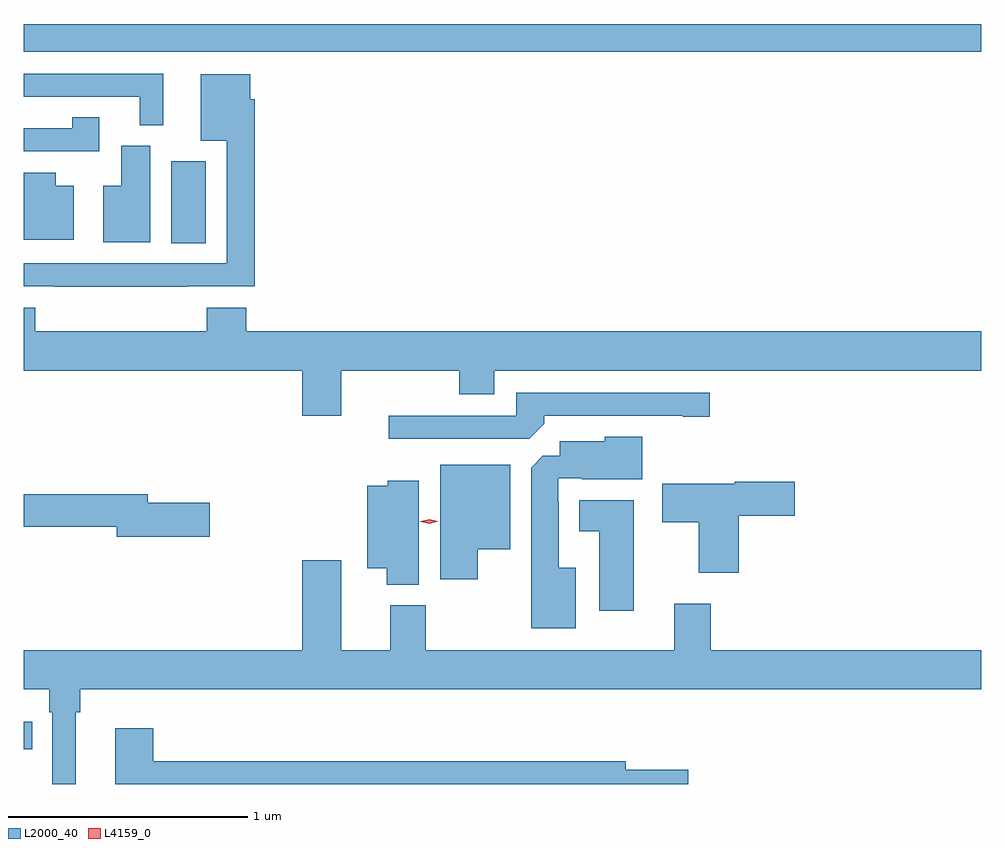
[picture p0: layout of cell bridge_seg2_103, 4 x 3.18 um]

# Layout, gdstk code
import gdstk
lib = gdstk.Library(unit=1e-6, precision=1e-09)
def R(c, l, rs):  # rectangles x0, y0, x1, y1
    for r in rs: c.add(gdstk.rectangle(r[:2], r[2:], *l))
def P(c, l, *ps):  # polygons
    for p in ps: c.add(gdstk.Polygon(p, *l))
L2000_40 = (2000, 40)
L4159_0 = (4159, 0)

bridge_seg2_103 = lib.new_cell('bridge_seg2_103')
R(bridge_seg2_103, L2000_40, [(547.461,663.37,547.496,663.486), (548.078,665.485,548.221,665.827), (547.461,666.284,551.461,666.4)])
P(bridge_seg2_103, L2000_40, [(548.044,666.192),(547.461,666.192),(547.461,666.096),(547.946,666.096),(547.946,665.977),(548.044,665.977)],
  [(548.141,665.304),(548.426,665.304),(548.426,666.086),(548.407,666.086),(548.407,666.19),(548.201,666.19),(548.201,665.912),(548.31,665.912),(548.31,665.4),(547.461,665.4),(547.461,665.304),(547.591,665.304),(547.591,665.303),(548.141,665.303)],
  [(547.777,666.011),(547.664,666.011),(547.664,665.965),(547.461,665.965),(547.461,665.868),(547.777,665.868)],
  [(547.99,665.892),(547.868,665.892),(547.868,665.725),(547.793,665.725),(547.793,665.489),(547.99,665.489)],
  [(547.669,665.725),(547.594,665.725),(547.594,665.779),(547.461,665.779),(547.461,665.498),(547.669,665.498)],
  [(548.788,664.952),(549.28,664.952),(549.28,664.853),(549.427,664.853),(549.427,664.952),(551.461,664.952),(551.461,665.116),(548.39,665.116),(548.39,665.215),(548.225,665.215),(548.225,665.116),(547.508,665.116),(547.508,665.215),(547.461,665.215),(547.461,664.952),(548.624,664.952),(548.624,664.764),(548.788,664.764)],
  [(549.635,664.73),(549.635,664.764),(550.214,664.764),(550.214,664.759),(550.327,664.759),(550.327,664.86),(549.519,664.86),(549.519,664.764),(548.985,664.764),(548.985,664.668),(549.573,664.668)],
  [(549.766,664.129),(549.697,664.129),(549.697,664.403),(549.693,664.403),(549.693,664.503),(549.793,664.503),(549.793,664.499),(550.045,664.499),(550.045,664.675),(549.888,664.675),(549.888,664.657),(549.701,664.657),(549.701,664.596),(549.63,664.596),(549.581,664.547),(549.581,663.875),(549.766,663.875)],
  [(549.358,664.205),(549.493,664.205),(549.493,664.558),(549.2,664.558),(549.2,664.08),(549.358,664.08)],
  [(549.112,664.492),(548.982,664.492),(548.982,664.471),(548.897,664.471),(548.897,664.127),(548.978,664.127),(548.978,664.057),(549.112,664.057)],
  [(550.448,664.346),(550.681,664.346),(550.681,664.488),(550.431,664.488),(550.431,664.48),(550.128,664.48),(550.128,664.318),(550.28,664.318),(550.28,664.107),(550.448,664.107)],
  [(548.239,664.4),(547.978,664.4),(547.978,664.436),(547.461,664.436),(547.461,664.3),(547.85,664.3),(547.85,664.258),(548.239,664.258)],
  [(550.009,664.411),(549.782,664.411),(549.782,664.28),(549.866,664.28),(549.866,663.948),(550.009,663.948)],
  [(547.678,663.524),(547.697,663.524),(547.697,663.62),(551.461,663.62),(551.461,663.784),(550.331,663.784),(550.331,663.979),(550.178,663.979),(550.178,663.784),(549.141,663.784),(549.141,663.972),(548.993,663.972),(548.993,663.784),(548.788,663.784),(548.788,664.159),(548.624,664.159),(548.624,663.784),(547.461,663.784),(547.461,663.62),(547.568,663.62),(547.568,663.524),(547.581,663.524),(547.581,663.225),(547.678,663.225)],
  [(550.237,663.285),(549.976,663.285),(549.976,663.319),(548.003,663.319),(548.003,663.457),(547.844,663.457),(547.844,663.225),(550.237,663.225)])
P(bridge_seg2_103, L4159_0, [(549.156,664.312),(549.119,664.321),(549.118,664.322),(549.119,664.322),(549.155,664.332),(549.192,664.323),(549.192,664.323),(549.192,664.323)])

lib.write_gds('bridge_seg2_103.gds')
